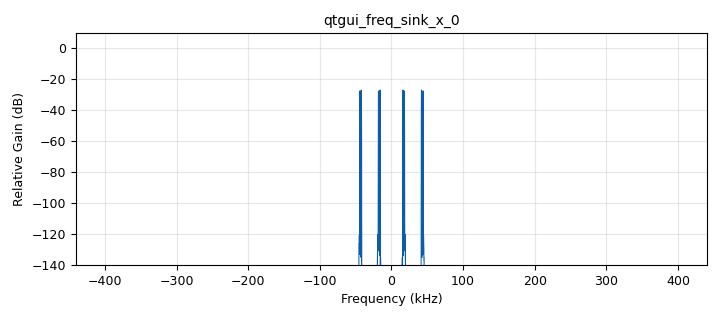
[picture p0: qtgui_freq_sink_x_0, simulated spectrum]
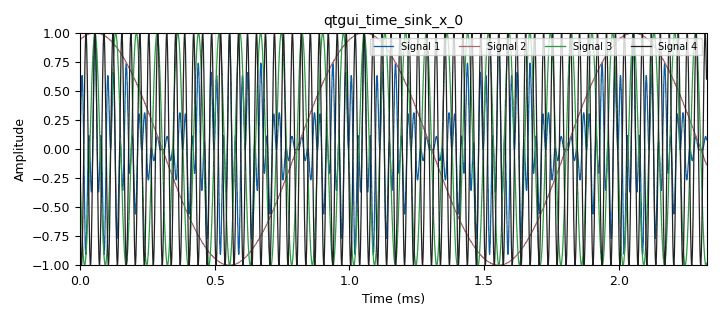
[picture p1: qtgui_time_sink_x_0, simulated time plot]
options:
  parameters:
    author: JohnLlamas2161740_NicolasSuarez2150313
    generate_options: qt_gui
    id: LAB1_D1A
    output_language: python
    title: Practica1_D1A_Punto2
  states: {}

blocks:
- name: samp_rate
  id: variable
  parameters:
    value: '880000'
  states: {}
- name: analog_sig_source_x_0
  id: analog_sig_source_x
  parameters:
    amp: '1'
    freq: '1000'
    offset: '0'
    phase: '0'
    samp_rate: samp_rate
    type: float
    waveform: analog.GR_COS_WAVE
  states: {}
- name: analog_sig_source_x_1
  id: analog_sig_source_x
  parameters:
    amp: '1'
    freq: '13000'
    offset: '0'
    phase: '0'
    samp_rate: samp_rate
    type: float
    waveform: analog.GR_COS_WAVE
  states: {}
- name: analog_sig_source_x_2
  id: analog_sig_source_x
  parameters:
    amp: '1'
    freq: '30000'
    offset: '0'
    phase: '0'
    samp_rate: samp_rate
    type: float
    waveform: analog.GR_COS_WAVE
  states: {}
- name: blocks_multiply_xx_0
  id: blocks_multiply_xx
  parameters:
    num_inputs: '3'
    type: float
  states: {}
- name: blocks_throttle_0
  id: blocks_throttle
  parameters:
    samples_per_second: samp_rate
    type: float
  states: {}
- name: qtgui_freq_sink_x_0
  id: qtgui_freq_sink_x
  parameters:
    average: '0.2'
    bw: samp_rate
    fc: '0'
    fftsize: 1024*8
    type: float
    wintype: firdes.WIN_BLACKMAN_hARRIS
  states: {}
- name: qtgui_time_sink_x_0
  id: qtgui_time_sink_x
  parameters:
    nconnections: '4'
    size: '2048'
    srate: samp_rate
    type: float
  states: {}

connections:
- [analog_sig_source_x_0, '0', blocks_multiply_xx_0, '0']
- [analog_sig_source_x_0, '0', qtgui_time_sink_x_0, '1']
- [analog_sig_source_x_1, '0', blocks_multiply_xx_0, '1']
- [analog_sig_source_x_1, '0', qtgui_time_sink_x_0, '2']
- [analog_sig_source_x_2, '0', blocks_multiply_xx_0, '2']
- [analog_sig_source_x_2, '0', qtgui_time_sink_x_0, '3']
- [blocks_multiply_xx_0, '0', blocks_throttle_0, '0']
- [blocks_throttle_0, '0', qtgui_freq_sink_x_0, '0']
- [blocks_throttle_0, '0', qtgui_time_sink_x_0, '0']

metadata:
  file_format: 1
